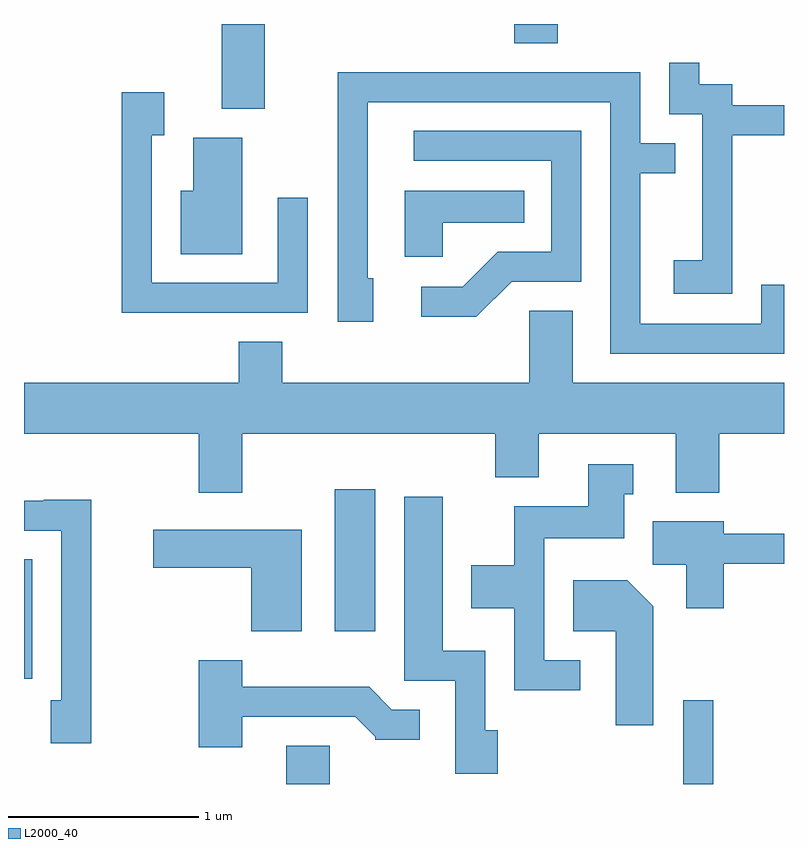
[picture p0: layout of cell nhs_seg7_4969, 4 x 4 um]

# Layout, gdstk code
import gdstk
lib = gdstk.Library(unit=1e-6, precision=1e-09)
def R(c, l, rs):  # rectangles x0, y0, x1, y1
    for r in rs: c.add(gdstk.rectangle(r[:2], r[2:], *l))
def P(c, l, *ps):  # polygons
    for p in ps: c.add(gdstk.Polygon(p, *l))
L2000_40 = (2000, 40)

nhs_seg7_4969 = lib.new_cell('nhs_seg7_4969')
R(nhs_seg7_4969, L2000_40, [(338.991,1710.252,339.219,1710.454), (341.081,1710.252,341.239,1710.693), (337.611,1710.806,337.654,1711.434), (339.246,1711.056,339.459,1711.804), (338.651,1713.806,338.879,1714.252), (340.191,1714.151,340.419,1714.252)])
P(nhs_seg7_4969, L2000_40, [(341.339,1713.666),(341.611,1713.666),(341.611,1713.824),(341.339,1713.824),(341.339,1713.934),(341.164,1713.934),(341.164,1714.048),(341.006,1714.048),(341.006,1713.776),(341.181,1713.776),(341.181,1713.009),(341.031,1713.009),(341.031,1712.831),(341.339,1712.831)],
  [(341.611,1712.879),(341.491,1712.879),(341.491,1712.674),(340.854,1712.674),(340.854,1713.466),(341.038,1713.466),(341.038,1713.624),(340.854,1713.624),(340.854,1713.999),(339.261,1713.999),(339.261,1712.686),(339.449,1712.686),(339.449,1712.914),(339.419,1712.914),(339.419,1713.841),(340.696,1713.841),(340.696,1712.516),(341.611,1712.516)],
  [(339.104,1713.338),(338.946,1713.338),(338.946,1712.889),(338.284,1712.889),(338.284,1713.666),(338.349,1713.666),(338.349,1713.894),(338.126,1713.894),(338.126,1712.731),(339.104,1712.731)],
  [(340.177,1712.896),(340.544,1712.896),(340.544,1713.689),(339.663,1713.689),(339.663,1713.531),(340.386,1713.531),(340.386,1713.054),(340.104,1713.054),(339.919,1712.869),(339.703,1712.869),(339.703,1712.711),(339.992,1712.711)],
  [(338.759,1713.654),(338.501,1713.654),(338.501,1713.374),(338.436,1713.374),(338.436,1713.041),(338.759,1713.041)],
  [(339.814,1713.206),(340.243,1713.206),(340.243,1713.374),(339.616,1713.374),(339.616,1713.026),(339.814,1713.026)],
  [(338.759,1712.096),(340.091,1712.096),(340.091,1711.866),(340.319,1711.866),(340.319,1712.096),(341.041,1712.096),(341.041,1711.786),(341.269,1711.786),(341.269,1712.096),(341.611,1712.096),(341.611,1712.364),(340.499,1712.364),(340.499,1712.744),(340.271,1712.744),(340.271,1712.364),(338.969,1712.364),(338.969,1712.579),(338.741,1712.579),(338.741,1712.364),(337.611,1712.364),(337.611,1712.096),(338.531,1712.096),(338.531,1711.786),(338.759,1711.786)],
  [(340.538,1710.904),(340.349,1710.904),(340.349,1711.546),(340.769,1711.546),(340.769,1711.776),(340.818,1711.776),(340.818,1711.934),(340.581,1711.934),(340.581,1711.714),(340.191,1711.714),(340.191,1711.404),(339.966,1711.404),(339.966,1711.176),(340.191,1711.176),(340.191,1710.746),(340.538,1710.746)],
  [(340.104,1710.534),(340.039,1710.534),(340.039,1710.954),(339.814,1710.954),(339.814,1711.764),(339.611,1711.764),(339.611,1710.796),(339.881,1710.796),(339.881,1710.306),(340.104,1710.306)],
  [(337.964,1711.749),(337.715,1711.749),(337.715,1711.744),(337.611,1711.744),(337.611,1711.586),(337.806,1711.586),(337.806,1710.694),(337.751,1710.694),(337.751,1710.466),(337.964,1710.466)],
  [(341.294,1711.411),(341.611,1711.411),(341.611,1711.569),(341.294,1711.569),(341.294,1711.634),(340.921,1711.634),(340.921,1711.406),(341.096,1711.406),(341.096,1711.176),(341.294,1711.176)],
  [(339.074,1711.589),(338.291,1711.589),(338.291,1711.391),(338.806,1711.391),(338.806,1711.056),(339.074,1711.056)],
  [(340.924,1711.187),(340.787,1711.324),(340.501,1711.324),(340.501,1711.056),(340.726,1711.056),(340.726,1710.561),(340.924,1710.561)],
  [(338.759,1710.606),(339.354,1710.606),(339.46,1710.5),(339.46,1710.486),(339.693,1710.486),(339.693,1710.644),(339.547,1710.644),(339.427,1710.764),(338.759,1710.764),(338.759,1710.904),(338.531,1710.904),(338.531,1710.446),(338.759,1710.446)])

lib.write_gds('nhs_seg7_4969.gds')
